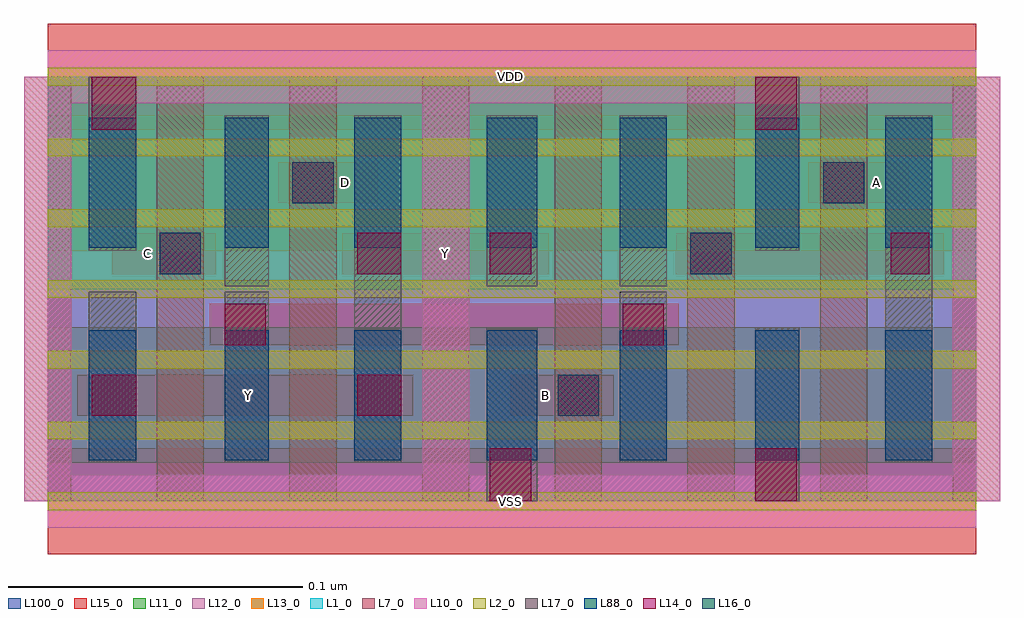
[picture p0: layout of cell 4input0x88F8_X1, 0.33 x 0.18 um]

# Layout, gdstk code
import gdstk
lib = gdstk.Library(unit=1e-6, precision=1e-09)
def R(c, l, rs):  # rectangles x0, y0, x1, y1
    for r in rs: c.add(gdstk.rectangle(r[:2], r[2:], *l))
def A(c, l, x, y, w, h, nx, ny, dx, dy):  # array of equal rectangles
    R(c, l, [(x+i*dx, y+j*dy, x+i*dx+w, y+j*dy+h) for i in range(nx) for j in range(ny)])
def P(c, l, *ps):  # polygons
    for p in ps: c.add(gdstk.Polygon(p, *l))
L1_0 = (1, 0)
L2_0 = (2, 0)
L7_0 = (7, 0)
L10_0 = (10, 0)
L11_0 = (11, 0)
L12_0 = (12, 0)
L13_0 = (13, 0)
L14_0 = (14, 0)
L15_0 = (15, 0)
L16_0 = (16, 0)
L17_0 = (17, 0)
L88_0 = (88, 0)
L100_0 = (100, 0)

c_4input0x88f8_x1 = lib.new_cell('4input0x88F8_X1')
R(c_4input0x88f8_x1, L1_0, [(0,0.072,0.315,0.144)])
A(c_4input0x88f8_x1, L2_0, 0, -0.003, 0.315, 0.006, 1, 7, 0, 0.024)
A(c_4input0x88f8_x1, L7_0, -0.008, 0, 0.016, 0.144, 8, 1, 0.045, 0)
P(c_4input0x88f8_x1, L10_0, [(0,-0.009),(0,0),(-0.008,0),(-0.008,0.135),(0.008,0.135),(0.008,0.009),(0.127,0.009),(0.127,0.135),(0.143,0.135),(0.143,0.009),(0.307,0.009),(0.307,0.135),(-0.008,0.135),(-0.008,0.144),(0,0.144),(0,0.153),(0.315,0.153),(0.315,0.144),(0.323,0.144),(0.323,0),(0.315,0),(0.315,-0.009)])
R(c_4input0x88f8_x1, L11_0, [(0,0.013,0.315,0.059), (0,0.085,0.315,0.131)])
R(c_4input0x88f8_x1, L12_0, [(0,0,0.315,0.072)])
R(c_4input0x88f8_x1, L13_0, [(0,0.072,0.315,0.144)])
R(c_4input0x88f8_x1, L14_0, [(0.15,0,0.164,0.018), (0.24,0,0.254,0.018), (0.015,0.029,0.03,0.043), (0.105,0.029,0.12,0.043), (0.173,0.029,0.187,0.043), (0.06,0.053,0.074,0.067), (0.195,0.053,0.209,0.067), (0.038,0.077,0.052,0.091), (0.105,0.077,0.12,0.091), (0.15,0.077,0.164,0.091), (0.218,0.077,0.232,0.091), (0.286,0.077,0.299,0.091), (0.083,0.101,0.097,0.115), (0.263,0.101,0.277,0.115), (0.015,0.126,0.03,0.144), (0.24,0.126,0.254,0.144)])
R(c_4input0x88f8_x1, L15_0, [(0,-0.018,0.315,0.018), (0.01,0.029,0.124,0.043), (0.157,0.029,0.192,0.043), (0.055,0.053,0.214,0.067), (0.022,0.077,0.057,0.091), (0.1,0.077,0.17,0.091), (0.213,0.077,0.304,0.091), (0.078,0.101,0.112,0.115), (0.258,0.101,0.292,0.115), (0,0.126,0.315,0.162)])
R(c_4input0x88f8_x1, L16_0, [(0.173,0.029,0.187,0.043), (0.038,0.077,0.052,0.091), (0.218,0.077,0.232,0.091), (0.083,0.101,0.097,0.115), (0.263,0.101,0.277,0.115)])
R(c_4input0x88f8_x1, L17_0, [(0.149,0,0.166,0.059), (0.24,0,0.255,0.059), (0.014,0.013,0.03,0.071), (0.06,0.013,0.075,0.071), (0.104,0.013,0.12,0.131), (0.194,0.013,0.21,0.071), (0.284,0.013,0.3,0.131), (0.06,0.073,0.075,0.131), (0.149,0.073,0.166,0.131), (0.194,0.073,0.21,0.131), (0.014,0.085,0.03,0.144), (0.24,0.085,0.255,0.144)])
A(c_4input0x88f8_x1, L88_0, 0.014, 0.014, 0.016, 0.044, 4, 2, 0.09, 0.072)
R(c_4input0x88f8_x1, L88_0, [(0.06,0.014,0.075,0.058), (0.149,0.014,0.166,0.058), (0.24,0.014,0.255,0.058), (0.06,0.086,0.075,0.13), (0.149,0.086,0.166,0.13), (0.24,0.086,0.255,0.13)])
R(c_4input0x88f8_x1, L100_0, [(0,0,0.315,0.144)])
c_4input0x88f8_x1.add(gdstk.Label('C', (0.034,0.084), layer=15, texttype=251))
c_4input0x88f8_x1.add(gdstk.Label('VSS', (0.157,0), layer=15, texttype=251))
c_4input0x88f8_x1.add(gdstk.Label('VDD', (0.157,0.144), layer=15, texttype=251))
c_4input0x88f8_x1.add(gdstk.Label('D', (0.101,0.108), layer=15, texttype=251))
c_4input0x88f8_x1.add(gdstk.Label('VSS', (0.157,0), layer=15, texttype=251))
c_4input0x88f8_x1.add(gdstk.Label('VDD', (0.157,0.144), layer=15, texttype=251))
c_4input0x88f8_x1.add(gdstk.Label('Y', (0.135,0.084), layer=15, texttype=251))
c_4input0x88f8_x1.add(gdstk.Label('Y', (0.068,0.036), layer=15, texttype=251))
c_4input0x88f8_x1.add(gdstk.Label('VSS', (0.157,0), layer=15, texttype=251))
c_4input0x88f8_x1.add(gdstk.Label('VDD', (0.157,0.144), layer=15, texttype=251))
c_4input0x88f8_x1.add(gdstk.Label('B', (0.169,0.036), layer=15, texttype=251))
c_4input0x88f8_x1.add(gdstk.Label('VSS', (0.157,0), layer=15, texttype=251))
c_4input0x88f8_x1.add(gdstk.Label('VDD', (0.157,0.144), layer=15, texttype=251))
c_4input0x88f8_x1.add(gdstk.Label('A', (0.281,0.108), layer=15, texttype=251))
c_4input0x88f8_x1.add(gdstk.Label('VSS', (0.157,0), layer=15, texttype=251))
c_4input0x88f8_x1.add(gdstk.Label('VDD', (0.157,0.144), layer=15, texttype=251))
c_4input0x88f8_x1.add(gdstk.Label('VSS', (0.157,0), layer=3, texttype=251))
c_4input0x88f8_x1.add(gdstk.Label('VSS', (0.157,0), layer=3, texttype=251))
c_4input0x88f8_x1.add(gdstk.Label('VSS', (0.157,0), layer=3, texttype=251))
c_4input0x88f8_x1.add(gdstk.Label('VSS', (0.157,0), layer=3, texttype=251))
c_4input0x88f8_x1.add(gdstk.Label('VSS', (0.157,0), layer=3, texttype=251))
c_4input0x88f8_x1.add(gdstk.Label('VDD', (0.157,0.144), layer=1, texttype=251))
c_4input0x88f8_x1.add(gdstk.Label('VDD', (0.157,0.144), layer=1, texttype=251))
c_4input0x88f8_x1.add(gdstk.Label('VDD', (0.157,0.144), layer=1, texttype=251))
c_4input0x88f8_x1.add(gdstk.Label('VDD', (0.157,0.144), layer=1, texttype=251))
c_4input0x88f8_x1.add(gdstk.Label('VDD', (0.157,0.144), layer=1, texttype=251))

lib.write_gds('4input0x88F8_X1.gds')
